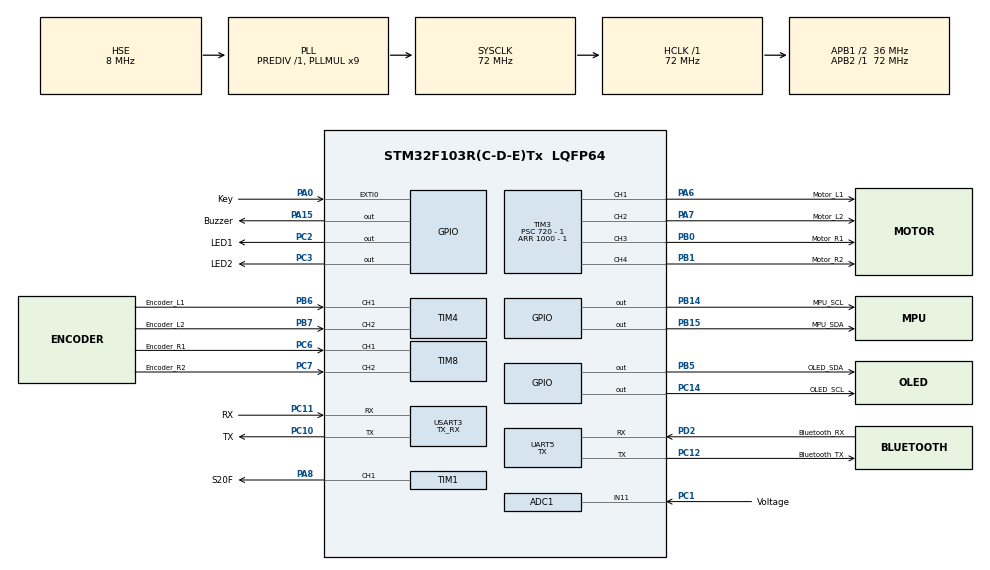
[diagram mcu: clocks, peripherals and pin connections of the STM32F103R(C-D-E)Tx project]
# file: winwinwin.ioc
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ADC1.Channel-2\#ChannelRegularConversion=ADC_CHANNEL_11
ADC1.NbrOfConversionFlag=1
ADC1.Rank-2\#ChannelRegularConversion=1
ADC1.SamplingTime-2\#ChannelRegularConversion=ADC_SAMPLETIME_1CYCLE_5
ADC1.master=1
Dma.Request0=USART3_RX
Dma.USART3_RX.0.Direction=DMA_PERIPH_TO_MEMORY
Dma.USART3_RX.0.Instance=DMA1_Channel3
Dma.USART3_RX.0.MemDataAlignment=DMA_MDATAALIGN_BYTE
Dma.USART3_RX.0.MemInc=DMA_MINC_ENABLE
Dma.USART3_RX.0.Mode=DMA_CIRCULAR
Dma.USART3_RX.0.PeriphDataAlignment=DMA_PDATAALIGN_BYTE
Dma.USART3_RX.0.PeriphInc=DMA_PINC_DISABLE
Dma.USART3_RX.0.Priority=DMA_PRIORITY_HIGH
FREERTOS.Tasks01=UserTask,24,128,StartUserTask,Default,NULL,Dynamic,NULL,NULL;FeedBackTask,8,128,StartFeedBackTask,Default,NULL,Dynamic,NULL,NULL;MotorTask,8,128,StartMotorTask,Default,NULL,Dynamic,NULL,NULL;LEDTask,8,128,StartLEDTask,Default,NULL,Dynamic,NULL,NULL
Mcu.Family=STM32F1
Mcu.Name=STM32F103R(C-D-E)Tx
Mcu.Package=LQFP64
NVIC.DMA1_Channel3_IRQn=true\:5\:0\:false\:false\:true\:true\:false\:true\:true
NVIC.EXTI0_IRQn=true\:5\:0\:false\:false\:true\:true\:true\:true\:true
NVIC.PriorityGroup=NVIC_PRIORITYGROUP_4
NVIC.TIM7_IRQn=true\:15\:0\:false\:false\:true\:false\:false\:true\:true
NVIC.TimeBase=TIM7_IRQn
NVIC.TimeBaseIP=TIM7
NVIC.USART3_IRQn=true\:5\:0\:false\:false\:true\:true\:true\:true\:true
PA0-WKUP.GPIO_Label=Key
PA0-WKUP.GPIO_PuPd=GPIO_PULLDOWN
PA0-WKUP.Signal=GPXTI0
PA13.Mode=Serial_Wire
PA13.Signal=SYS_JTMS-SWDIO
PA14.Mode=Serial_Wire
PA14.Signal=SYS_JTCK-SWCLK
PA15.GPIO_Label=Buzzer
PA15.GPIO_PuPd=GPIO_PULLUP
PA15.GPIO_Speed=GPIO_SPEED_FREQ_HIGH
PA15.PinState=GPIO_PIN_RESET
PA15.Signal=GPIO_Output
PA6.GPIO_Label=Motor_L1
PA6.GPIO_Speed=GPIO_SPEED_FREQ_HIGH
PA6.Signal=S_TIM3_CH1
PA7.GPIO_Label=Motor_L2
PA7.GPIO_Speed=GPIO_SPEED_FREQ_HIGH
PA7.Signal=S_TIM3_CH2
PA8.GPIO_Label=S20F
PA8.GPIO_Speed=GPIO_SPEED_FREQ_HIGH
PA8.Signal=S_TIM1_CH1
PB0.GPIO_Label=Motor_R1
PB0.GPIO_Speed=GPIO_SPEED_FREQ_HIGH
PB0.Signal=S_TIM3_CH3
PB1.GPIO_Label=Motor_R2
PB1.GPIO_Speed=GPIO_SPEED_FREQ_HIGH
PB1.Signal=S_TIM3_CH4
PB14.GPIO_Label=MPU_SCL
PB14.GPIO_ModeDefaultOutputPP=GPIO_MODE_OUTPUT_OD
PB14.GPIO_PuPd=GPIO_NOPULL
PB14.GPIO_Speed=GPIO_SPEED_FREQ_HIGH
PB14.PinState=GPIO_PIN_SET
PB14.Signal=GPIO_Output
PB15.GPIO_Label=MPU_SDA
PB15.GPIO_ModeDefaultOutputPP=GPIO_MODE_OUTPUT_OD
PB15.GPIO_PuPd=GPIO_NOPULL
PB15.GPIO_Speed=GPIO_SPEED_FREQ_HIGH
PB15.PinState=GPIO_PIN_SET
PB15.Signal=GPIO_Output
PB5.GPIO_Label=OLED_SDA
PB5.GPIO_ModeDefaultOutputPP=GPIO_MODE_OUTPUT_OD
PB5.GPIO_PuPd=GPIO_NOPULL
PB5.GPIO_Speed=GPIO_SPEED_FREQ_HIGH
PB5.PinState=GPIO_PIN_SET
PB5.Signal=GPIO_Output
PB6.GPIO_Label=Encoder_L1
PB6.GPIO_PuPd=GPIO_PULLUP
PB6.Signal=S_TIM4_CH1
PB7.GPIO_Label=Encoder_L2
PB7.GPIO_PuPd=GPIO_PULLUP
PB7.Signal=S_TIM4_CH2
PC1.GPIO_Label=Voltage
PC1.Signal=ADCx_IN11
PC10.GPIO_Label=TX
PC10.Mode=Asynchronous
PC10.Signal=USART3_TX
PC11.GPIO_Label=RX
PC11.GPIO_PuPd=GPIO_PULLUP
PC11.Mode=Asynchronous
PC11.Signal=USART3_RX
PC12.GPIO_Label=Bluetooth_TX
PC12.Mode=Asynchronous
PC12.Signal=UART5_TX
PC14-OSC32_IN.GPIO_Label=OLED_SCL
PC14-OSC32_IN.GPIO_ModeDefaultOutputPP=GPIO_MODE_OUTPUT_OD
PC14-OSC32_IN.GPIO_PuPd=GPIO_NOPULL
PC14-OSC32_IN.GPIO_Speed=GPIO_SPEED_FREQ_HIGH
PC14-OSC32_IN.PinState=GPIO_PIN_SET
PC14-OSC32_IN.Signal=GPIO_Output
PC2.GPIO_Label=LED1
PC2.GPIO_ModeDefaultOutputPP=GPIO_MODE_OUTPUT_PP
PC2.GPIO_PuPd=GPIO_PULLUP
PC2.GPIO_Speed=GPIO_SPEED_FREQ_HIGH
PC2.Signal=GPIO_Output
PC3.GPIO_Label=LED2
PC3.GPIO_PuPd=GPIO_PULLUP
PC3.GPIO_Speed=GPIO_SPEED_FREQ_HIGH
PC3.PinState=GPIO_PIN_SET
PC3.Signal=GPIO_Output
PC6.GPIO_Label=Encoder_R1
PC6.GPIO_PuPd=GPIO_PULLUP
PC6.Signal=S_TIM8_CH1
PC7.GPIO_Label=Encoder_R2
PC7.GPIO_PuPd=GPIO_PULLUP
PC7.Signal=S_TIM8_CH2
PD0-OSC_IN.Mode=HSE-External-Oscillator
PD0-OSC_IN.Signal=RCC_OSC_IN
PD1-OSC_OUT.Mode=HSE-External-Oscillator
PD1-OSC_OUT.Signal=RCC_OSC_OUT
PD2.GPIO_Label=Bluetooth_RX
PD2.GPIO_PuPd=GPIO_PULLUP
PD2.Mode=Asynchronous
PD2.Signal=UART5_RX
ProjectManager.HeapSize=0x200
ProjectManager.StackSize=0x400
ProjectManager.TargetToolchain=MDK-ARM V5.32
RCC.ADCPresc=RCC_ADCPCLK2_DIV6
RCC.AHBFreq_Value=72000000
RCC.APB1CLKDivider=RCC_HCLK_DIV2
RCC.APB1Freq_Value=36000000
RCC.APB1TimFreq_Value=72000000
RCC.APB2Freq_Value=72000000
RCC.APB2TimFreq_Value=72000000
RCC.HCLKFreq_Value=72000000
RCC.PLLMUL=RCC_PLL_MUL9
RCC.PLLSourceVirtual=RCC_PLLSOURCE_HSE
RCC.SYSCLKFreq_VALUE=72000000
RCC.SYSCLKSource=RCC_SYSCLKSOURCE_PLLCLK
RCC.USBFreq_Value=72000000
SH.ADCx_IN11.0=ADC1_IN11,IN11
SH.S_TIM1_CH1.0=TIM1_CH1,PWM Generation1 CH1
SH.S_TIM3_CH1.0=TIM3_CH1,PWM Generation1 CH1
SH.S_TIM3_CH2.0=TIM3_CH2,PWM Generation2 CH2
SH.S_TIM3_CH3.0=TIM3_CH3,PWM Generation3 CH3
SH.S_TIM3_CH4.0=TIM3_CH4,PWM Generation4 CH4
SH.S_TIM4_CH1.0=TIM4_CH1,Encoder_Interface
SH.S_TIM4_CH2.0=TIM4_CH2,Encoder_Interface
SH.S_TIM8_CH1.0=TIM8_CH1,Encoder_Interface
SH.S_TIM8_CH2.0=TIM8_CH2,Encoder_Interface
TIM1.AutoReloadPreload=TIM_AUTORELOAD_PRELOAD_ENABLE
TIM1.Channel-PWM\ Generation1\ CH1=TIM_CHANNEL_1
TIM1.Period=10000 - 1
TIM1.Prescaler=144 - 1
TIM3.AutoReloadPreload=TIM_AUTORELOAD_PRELOAD_ENABLE
TIM3.Channel-PWM\ Generation1\ CH1=TIM_CHANNEL_1
TIM3.Channel-PWM\ Generation2\ CH2=TIM_CHANNEL_2
TIM3.Channel-PWM\ Generation3\ CH3=TIM_CHANNEL_3
TIM3.Channel-PWM\ Generation4\ CH4=TIM_CHANNEL_4
TIM3.Period=1000 - 1
TIM3.Prescaler=720 - 1
TIM4.EncoderMode=TIM_ENCODERMODE_TI12
TIM8.EncoderMode=TIM_ENCODERMODE_TI12
UART5.Mode=MODE_TX
UART5.VirtualMode=Asynchronous
USART3.Mode=MODE_TX_RX
USART3.VirtualMode=VM_ASYNC
VP_FREERTOS_VS_CMSIS_V2.Mode=CMSIS_V2
VP_SYS_VS_tim7.Mode=TIM7
board=custom

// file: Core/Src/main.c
/* USER CODE BEGIN Header */
/**
 ******************************************************************************
 * @file           : main.c
 * @brief          : Main program body
 ******************************************************************************
 * @attention
 *
 * Copyright (c) 2023 STMicroelectronics.
 * All rights reserved.
 *
 * This software is licensed under terms that can be found in the LICENSE file
 * in the root directory of this software component.
 * If no LICENSE file comes with this software, it is provided AS-IS.
 *
 ******************************************************************************
 */
/* USER CODE END Header */
#include "main.h"
#include "cmsis_os.h"
#include "adc.h"
#include "dma.h"
#include "tim.h"
#include "usart.h"
#include "gpio.h"

void SystemClock_Config(void);
void MX_FREERTOS_Init(void);

int main(void)
{

  /* MCU Configuration--------------------------------------------------------*/

  /* Reset of all peripherals, Initializes the Flash interface and the Systick. */
  HAL_Init();

  /* Configure the system clock */
  SystemClock_Config();

  /* Initialize all configured peripherals */
  MX_GPIO_Init();
  MX_DMA_Init();
  MX_TIM3_Init();
  MX_TIM4_Init();
  MX_TIM8_Init();
  MX_UART5_Init();
  MX_TIM1_Init();
  MX_ADC1_Init();
  MX_USART3_UART_Init();

  /* Init scheduler */
  osKernelInitialize();  /* Call init function for freertos objects (in freertos.c) */
  MX_FREERTOS_Init();

  /* Start scheduler */
  osKernelStart();
  /* We should never get here as control is now taken by the scheduler */
  /* Infinite loop */
	while (1)
	{

	}
}

void SystemClock_Config(void)
{
  RCC_OscInitTypeDef RCC_OscInitStruct = {0};
  RCC_ClkInitTypeDef RCC_ClkInitStruct = {0};
  RCC_PeriphCLKInitTypeDef PeriphClkInit = {0};

  /** Initializes the RCC Oscillators according to the specified parameters
  * in the RCC_OscInitTypeDef structure.
  */
  RCC_OscInitStruct.OscillatorType = RCC_OSCILLATORTYPE_HSE;
  RCC_OscInitStruct.HSEState = RCC_HSE_ON;
  RCC_OscInitStruct.HSEPredivValue = RCC_HSE_PREDIV_DIV1;
  RCC_OscInitStruct.HSIState = RCC_HSI_ON;
  RCC_OscInitStruct.PLL.PLLState = RCC_PLL_ON;
  RCC_OscInitStruct.PLL.PLLSource = RCC_PLLSOURCE_HSE;
  RCC_OscInitStruct.PLL.PLLMUL = RCC_PLL_MUL9;
  if (HAL_RCC_OscConfig(&RCC_OscInitStruct) != HAL_OK)
  {
    Error_Handler();
  }

  /** Initializes the CPU, AHB and APB buses clocks
  */
  RCC_ClkInitStruct.ClockType = RCC_CLOCKTYPE_HCLK|RCC_CLOCKTYPE_SYSCLK
                              |RCC_CLOCKTYPE_PCLK1|RCC_CLOCKTYPE_PCLK2;
  RCC_ClkInitStruct.SYSCLKSource = RCC_SYSCLKSOURCE_PLLCLK;
  RCC_ClkInitStruct.AHBCLKDivider = RCC_SYSCLK_DIV1;
  RCC_ClkInitStruct.APB1CLKDivider = RCC_HCLK_DIV2;
  RCC_ClkInitStruct.APB2CLKDivider = RCC_HCLK_DIV1;

  if (HAL_RCC_ClockConfig(&RCC_ClkInitStruct, FLASH_LATENCY_2) != HAL_OK)
  {
    Error_Handler();
  }
  PeriphClkInit.PeriphClockSelection = RCC_PERIPHCLK_ADC;
  PeriphClkInit.AdcClockSelection = RCC_ADCPCLK2_DIV6;
  if (HAL_RCCEx_PeriphCLKConfig(&PeriphClkInit) != HAL_OK)
  {
    Error_Handler();
  }
}

void HAL_TIM_PeriodElapsedCallback(TIM_HandleTypeDef *htim)
{
  if (htim->Instance == TIM7) {
    HAL_IncTick();
  }
}

void Error_Handler(void)
{
	__disable_irq();
	while (1)
	{
	}
}

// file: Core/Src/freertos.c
/* USER CODE BEGIN Header */
/**
 ******************************************************************************
 * File Name          : freertos.c
 * Description        : Code for freertos applications
 ******************************************************************************
 * @attention
 *
 * Copyright (c) 2023 STMicroelectronics.
 * All rights reserved.
 *
 * This software is licensed under terms that can be found in the LICENSE file
 * in the root directory of this software component.
 * If no LICENSE file comes with this software, it is provided AS-IS.
 *
 ******************************************************************************
 */
/* USER CODE END Header */

#include "FreeRTOS.h"
#include "task.h"
#include "main.h"
#include "cmsis_os.h"

/* USER CODE BEGIN Includes */
#include "bluetooth.h"
#include "buzzer.h"
#include "led.h"
#include "motor.h"
#include "MPU6050.h"
#include "voltage.h"
#include "usart.h"
#include "tim.h"
#include "OLED.h"
#include "key.h"
/* USER CODE END Includes */

/* Definitions for UserTask */
osThreadId_t UserTaskHandle;
const osThreadAttr_t UserTask_attributes = {
  .name = "UserTask",
  .stack_size = 128 * 4,
  .priority = (osPriority_t) osPriorityNormal,
};
/* Definitions for FeedBackTask */
osThreadId_t FeedBackTaskHandle;
const osThreadAttr_t FeedBackTask_attributes = {
  .name = "FeedBackTask",
  .stack_size = 128 * 4,
  .priority = (osPriority_t) osPriorityLow,
};
/* Definitions for MotorTask */
osThreadId_t MotorTaskHandle;
const osThreadAttr_t MotorTask_attributes = {
  .name = "MotorTask",
  .stack_size = 128 * 4,
  .priority = (osPriority_t) osPriorityLow,
};
/* Definitions for LEDTask */
osThreadId_t LEDTaskHandle;
const osThreadAttr_t LEDTask_attributes = {
  .name = "LEDTask",
  .stack_size = 128 * 4,
  .priority = (osPriority_t) osPriorityLow,
};

void StartUserTask(void *argument);
void StartFeedBackTask(void *argument);
void StartMotorTask(void *argument);
void StartLEDTask(void *argument);

void MX_FREERTOS_Init(void); /* (MISRA C 2004 rule 8.1) */

void MX_FREERTOS_Init(void) {

  /* Create the thread(s) */
  /* creation of UserTask */
  UserTaskHandle = osThreadNew(StartUserTask, NULL, &UserTask_attributes);

  /* creation of FeedBackTask */
  FeedBackTaskHandle = osThreadNew(StartFeedBackTask, NULL, &FeedBackTask_attributes);

  /* creation of MotorTask */
  MotorTaskHandle = osThreadNew(StartMotorTask, NULL, &MotorTask_attributes);

  /* creation of LEDTask */
  LEDTaskHandle = osThreadNew(StartLEDTask, NULL, &LEDTask_attributes);

}

void StartUserTask(void *argument)
{
  /* USER CODE BEGIN StartUserTask */
	// OLED_Init();
	// OLED_ShowString(1,1,"HelloWorld!");
	/* Infinite loop */
	for (;;)
	{
		// printf("%f,%f\n",Car_Structure.wz[0],Car_Structure.angle);
		// Bluetooth_Send("%f %hd",Car_Structure.angle,Car_Structure.wz[0]);
		Key_Time_Count();
		printf("%f, %f, %f\n",Car_Structure.speed_L,Car_Structure.speed_R,Car_Structure.vx_set.float_data);
		osDelay(10);
	}
  /* USER CODE END StartUserTask */
}

void StartFeedBackTask(void *argument)
{
  /* USER CODE BEGIN StartFeedBackTask */
	// MPU6050_Init();
	Motor_Init();
	/* Infinite loop */
	for (;;)
	{
		// MPU6050_GetData();
		Get_Car_Speed();
		osDelay(10);
	}
  /* USER CODE END StartFeedBackTask */
}

void StartMotorTask(void *argument)
{
  /* USER CODE BEGIN StartMotorTask */
	HAL_Delay(50);
	/* Infinite loop */
	for (;;)
	{
		Motor_Time_Count();
		if(Car_Structure.motor_on)
		{
			Motor_Drive();
			LED2_On(1);
		}
		else
		{
			Motor_Stop();
			LED2_On(0);
		}
		osDelay(1);
	}
  /* USER CODE END StartMotorTask */
}

void StartLEDTask(void *argument)
{
  /* USER CODE BEGIN StartLEDTask */
	/* Infinite loop */
	for (;;)
	{
		LED1_On(1);
		osDelay(500);
		LED1_On(0);
		osDelay(500);
	}
  /* USER CODE END StartLEDTask */
}
